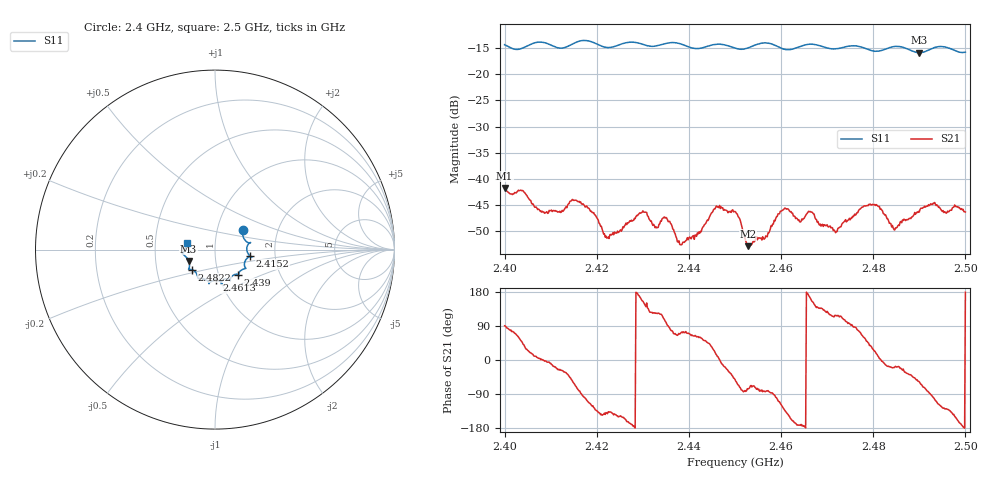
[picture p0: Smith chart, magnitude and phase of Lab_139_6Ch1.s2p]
# Hz S RI R 50
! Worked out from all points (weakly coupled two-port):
!   601 points, 2.4 GHz to 2.5 GHz, reference 50 ohm
!   highest |S21| = -41.72 dB at 2.4 GHz (marker M1); lowest = -52.8 dB at 2.4528 GHz (marker M2)
!   lowest |S11| = -15.9 dB at 2.49 GHz (marker M3), VSWR 1.38, Z = 36.9 - j4.84 ohm
!   |S11| at or under -10 dB: start of sweep to end of sweep
!   S12 and S22 are empty: the file has one direction only
!   S11 on the Smith chart (normalised r, x): 2.4 GHz: 1.33, +0.31; 2.4152 GHz: 1.48, -0.11; 2.439 GHz: 1.24, -0.36; 2.4613 GHz: 0.96, -0.34; 2.4822 GHz: 0.76, -0.17; 2.5 GHz: 0.72, +0.05
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2.4e9  0.1555 0.1108  -3.57e-05 0.0082  0 0  0 0
2.409e9  0.194 0.0382  0.00481 -0.000263  0 0  0 0
2.415167e9  0.1948 -0.0357  0.00281 -0.00559  0 0  0 0
2.416667e9  0.2044 -0.0418  5.74e-05 -0.0058  0 0  0 0
2.422167e9  0.1689 -0.0615  -0.00208 -0.00178  0 0  0 0
2.429833e9  0.1607 -0.1078  -0.00441 0.00193  0 0  0 0
2.433333e9  0.1326 -0.133  -0.00192 0.00287  0 0  0 0
2.435e9  0.132 -0.1451  -0.000752 0.00423  0 0  0 0
2.439e9  0.1275 -0.1391  0.000765 0.00237  0 0  0 0
2.445833e9  0.0847 -0.1731  0.0052 0.00149  0 0  0 0
2.45e9  0.0687 -0.1633  0.00306 -0.00383  0 0  0 0
2.452833e9  0.0397 -0.1734  0.00054 -0.00222  0 0  0 0
2.461333e9  0.00786 -0.1708  -0.00407 -0.00323  0 0  0 0
2.464167e9  -0.028 -0.182  -0.00385 -0.000506  0 0  0 0
2.466667e9  -0.0333 -0.1902  -0.0044 0.00201  0 0  0 0
2.471833e9  -0.0635 -0.1622  -0.00143 0.00273  0 0  0 0
2.478e9  -0.0972 -0.1491  0.00281 0.00477  0 0  0 0
2.482167e9  -0.1284 -0.1119  0.00466 -0.000502  0 0  0 0
2.483333e9  -0.1395 -0.11  0.00383 -0.00112  0 0  0 0
2.484833e9  -0.1472 -0.1104  0.00327 -0.000984  0 0  0 0
2.49e9  -0.1469 -0.0638  0.00259 -0.00408  0 0  0 0
2.5e9  -0.1587 0.034  -0.00485 0.000118  0 0  0 0
